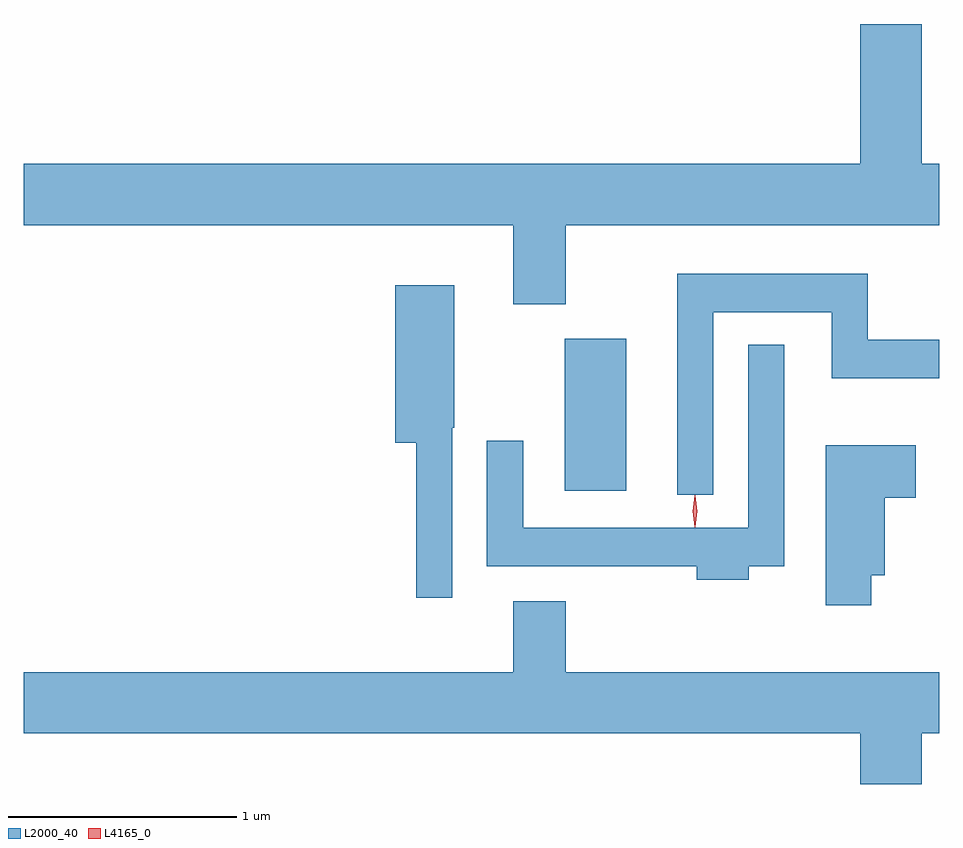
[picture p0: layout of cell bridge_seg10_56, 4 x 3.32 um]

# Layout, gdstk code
import gdstk
lib = gdstk.Library(unit=1e-6, precision=1e-09)
def R(c, l, rs):  # rectangles x0, y0, x1, y1
    for r in rs: c.add(gdstk.rectangle(r[:2], r[2:], *l))
def P(c, l, *ps):  # polygons
    for p in ps: c.add(gdstk.Polygon(p, *l))
L2000_40 = (2000, 40)
L4165_0 = (4165, 0)

bridge_seg10_56 = lib.new_cell('bridge_seg10_56')
R(bridge_seg10_56, L2000_40, [(1592.406,2188.236,1592.674,2188.899)])
P(bridge_seg10_56, L2000_40, [(1592.409,2189.396),(1594.042,2189.396),(1594.042,2189.664),(1593.964,2189.664),(1593.964,2190.274),(1593.696,2190.274),(1593.696,2189.664),(1590.042,2189.664),(1590.042,2189.396),(1592.181,2189.396),(1592.181,2189.051),(1592.409,2189.051)],
  [(1593.054,2189.016),(1593.571,2189.016),(1593.571,2188.726),(1594.042,2188.726),(1594.042,2188.894),(1593.729,2188.894),(1593.729,2189.184),(1592.896,2189.184),(1592.896,2188.218),(1593.054,2188.218)],
  [(1591.914,2188.51),(1591.924,2188.51),(1591.924,2189.134),(1591.666,2189.134),(1591.666,2188.446),(1591.756,2188.446),(1591.756,2187.768),(1591.914,2187.768)],
  [(1593.209,2187.906),(1593.364,2187.906),(1593.364,2188.873),(1593.206,2188.873),(1593.206,2188.074),(1592.224,2188.074),(1592.224,2188.453),(1592.066,2188.453),(1592.066,2187.906),(1592.981,2187.906),(1592.981,2187.846),(1593.209,2187.846)],
  [(1593.744,2187.866),(1593.804,2187.866),(1593.804,2188.206),(1593.939,2188.206),(1593.939,2188.434),(1593.546,2188.434),(1593.546,2187.736),(1593.744,2187.736)],
  [(1593.964,2187.176),(1594.042,2187.176),(1594.042,2187.444),(1592.409,2187.444),(1592.409,2187.754),(1592.181,2187.754),(1592.181,2187.444),(1590.042,2187.444),(1590.042,2187.176),(1593.696,2187.176),(1593.696,2186.955),(1593.964,2186.955)])
P(bridge_seg10_56, L4165_0, [(1592.974,2188.077),(1592.965,2188.146),(1592.974,2188.216),(1592.975,2188.216),(1592.975,2188.216),(1592.985,2188.146),(1592.975,2188.077),(1592.975,2188.077)],
  [(1592.974,2188.079),(1592.973,2188.08),(1592.964,2188.146),(1592.973,2188.212),(1592.974,2188.213),(1592.974,2188.212),(1592.984,2188.146),(1592.974,2188.08)])

lib.write_gds('bridge_seg10_56.gds')
